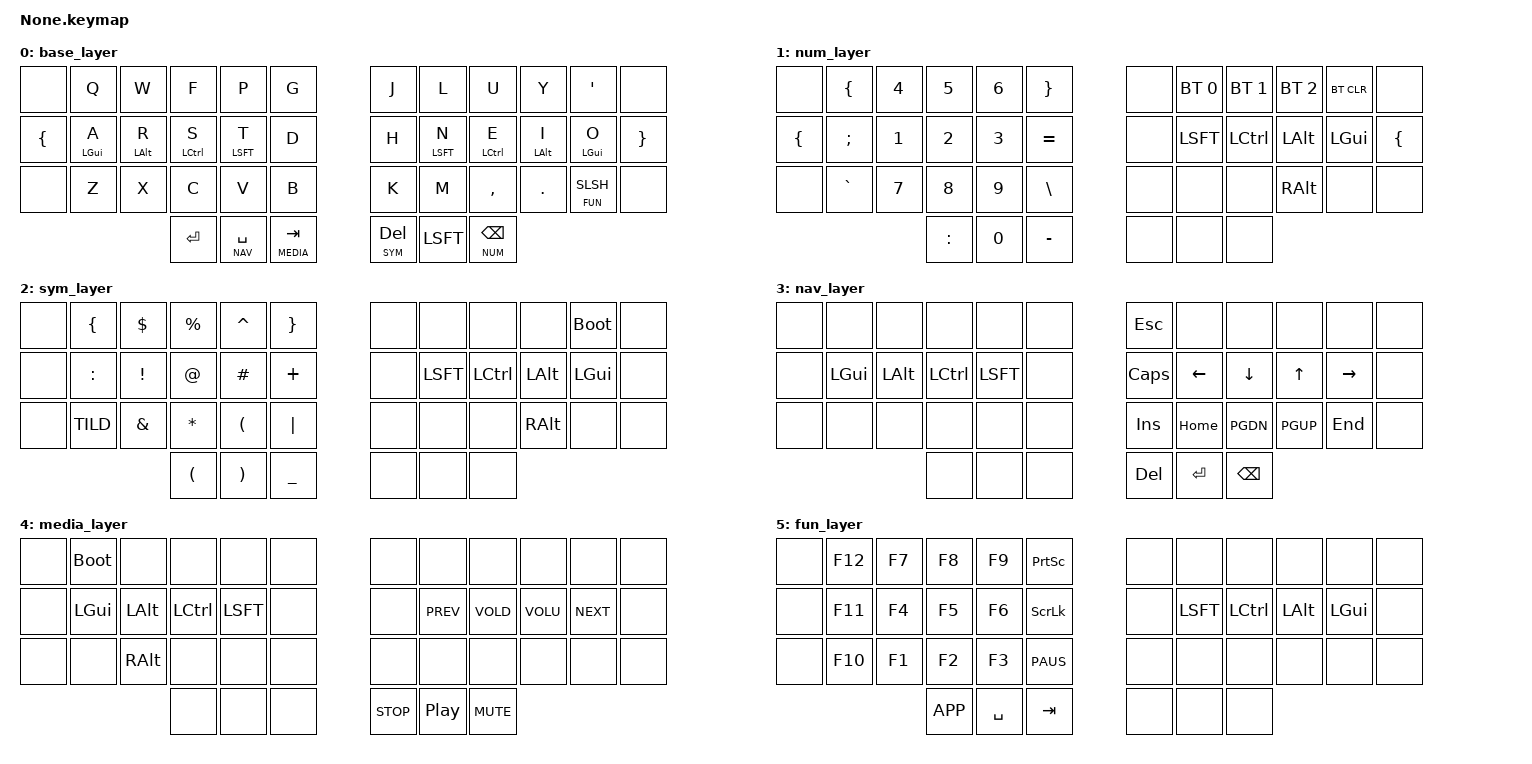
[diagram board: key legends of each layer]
// AUTO-GENERATED - DO NOT EDIT
// Generated from config/keymap.yaml
// Board: Corneish-Zen
// Shield/Board: corneish_zen_v2

#include <behaviors.dtsi>
#include <dt-bindings/zmk/keys.h>
#include <dt-bindings/zmk/bt.h>
#include "dario_behaviors.dtsi"

#define BASE 0
#define NUM 1
#define SYM 2
#define NAV 3
#define MEDIA 4
#define FUN 5

/ {
    keymap {
        compatible = "zmk,keymap";

        base_layer {
            bindings = <
                &none &kp Q &kp W &kp F &kp P &kp G &kp J &kp L &kp U &kp Y &kp SQT &none
                &kp LBRC &hml LGUI A &hml LALT R &hml LCTL S &hml LSFT T &kp D &kp H &hmr LSFT N &hmr LCTL E &hmr LALT I &hmr LGUI O &kp RBRC
                &none &kp Z &kp X &kp C &kp V &kp B &kp K &kp M &kp COMMA &kp DOT &lt FUN SLSH &none
                &kp ENTER &lt NAV SPC &lt MEDIA TAB &lt SYM DEL &kp LSFT &lt NUM BSPC
            >;
        };

        num_layer {
            bindings = <
                &none &kp LBRC &kp N4 &kp N5 &kp N6 &kp RBRC &none &bt BT_SEL 0 &bt BT_SEL 1 &bt BT_SEL 2 &bt BT_CLR &none
                &kp LBRC &kp SCLN &kp N1 &kp N2 &kp N3 &kp EQL &none &kp LSFT &kp LCTL &kp LALT &kp LGUI &kp LBRC
                &none &kp GRAVE &kp N7 &kp N8 &kp N9 &kp BSLH &none &none &none &kp RALT &none &none
                &kp COLN &kp N0 &kp MINUS &none &none &none
            >;
        };

        sym_layer {
            bindings = <
                &none &kp LBRC &kp DOLLAR &kp PERCENT &kp CARET &kp RBRC &none &none &none &none &bootloader &none
                &none &kp COLN &kp EXCL &kp AT &kp HASH &kp PLUS &none &kp LSFT &kp LCTL &kp LALT &kp LGUI &none
                &none &kp TILD &kp AMPERSAND &kp ASTERISK &kp LPRN &kp PIPE &none &none &none &kp RALT &none &none
                &kp LPRN &kp RPRN &kp UNDERSCORE &none &none &none
            >;
        };

        nav_layer {
            bindings = <
                &none &none &none &none &none &none &kp ESC &none &none &none &none &none
                &none &kp LGUI &kp LALT &kp LCTL &kp LSFT &none &kp CAPS &kp LEFT &kp DOWN &kp UP &kp RIGHT &none
                &none &none &none &none &none &none &kp INS &kp HOME &kp PGDN &kp PGUP &kp END &none
                &none &none &none &kp DEL &kp ENTER &kp BSPC
            >;
        };

        media_layer {
            bindings = <
                &none &bootloader &none &none &none &none &none &none &none &none &none &none
                &none &kp LGUI &kp LALT &kp LCTL &kp LSFT &none &none &kp C_PREV &kp VOLD &kp VOLU &kp C_NEXT &none
                &none &none &kp RALT &none &none &none &none &none &none &none &none &none
                &none &none &none &kp C_STOP &kp C_PLAY_PAUSE &kp C_MUTE
            >;
        };

        fun_layer {
            bindings = <
                &none &kp F12 &kp F7 &kp F8 &kp F9 &kp PRINTSCREEN &none &none &none &none &none &none
                &none &kp F11 &kp F4 &kp F5 &kp F6 &kp SCROLLLOCK &none &kp LSFT &kp LCTL &kp LALT &kp LGUI &none
                &none &kp F10 &kp F1 &kp F2 &kp F3 &kp PAUS &none &none &none &none &none &none
                &kp K_APP &kp SPC &kp TAB &none &none &none
            >;
        };
    };
};
